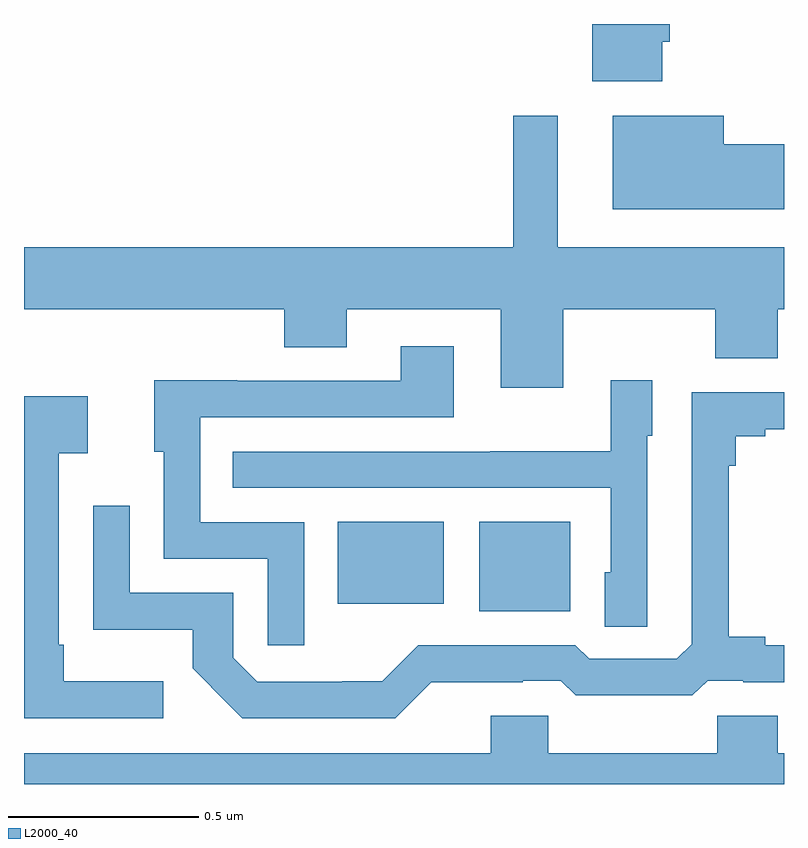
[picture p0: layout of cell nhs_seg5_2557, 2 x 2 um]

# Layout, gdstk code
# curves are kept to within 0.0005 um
import gdstk
lib = gdstk.Library(unit=1e-6, precision=1e-09)
def R(c, l, rs):  # rectangles x0, y0, x1, y1
    for r in rs: c.add(gdstk.rectangle(r[:2], r[2:], *l))
def P(c, l, *ps):  # polygons
    for p in ps: c.add(gdstk.Polygon(p, *l))
L2000_40 = (2000, 40)

nhs_seg5_2557 = lib.new_cell('nhs_seg5_2557')
R(nhs_seg5_2557, L2000_40, [(146.198,901.253,146.437,901.489), (145.826,901.274,146.104,901.489)])
P(nhs_seg5_2557, L2000_40, [(146.679,902.752),(146.699,902.752),(146.699,902.799),(146.496,902.799),(146.496,902.648),(146.679,902.648)],
  [(146.419,902.048),(146.819,902.048),(146.819,901.92),(146.983,901.92),(146.983,902.048),(147,902.048),(147,902.212),(146.404,902.212),(146.404,902.557),(146.287,902.557),(146.287,902.212),(145,902.212),(145,902.048),(145.685,902.048),(145.685,901.949),(145.849,901.949),(145.849,902.048),(146.255,902.048),(146.255,901.842),(146.419,901.842)],
  [(147,902.483),(146.842,902.483),(146.842,902.557),(146.549,902.557),(146.549,902.312),(147,902.312)],
  [(145.737,901.488),(145.464,901.488),(145.464,901.764),(146.131,901.764),(146.131,901.951),(145.991,901.951),(145.991,901.86),(145.561,901.86),(145.561,901.862),(145.343,901.862),(145.343,901.674),(145.368,901.674),(145.368,901.392),(145.641,901.392),(145.641,901.164),(145.737,901.164)],
  [(146.64,901.716),(146.653,901.716),(146.653,901.861),(146.544,901.861),(146.544,901.675),(146.227,901.675),(146.227,901.674),(145.549,901.674),(145.549,901.578),(146.544,901.578),(146.544,901.356),(146.528,901.356),(146.528,901.213),(146.64,901.213)],
  [(146.072,901.067),(146.312,901.067),(146.312,901.071),(146.412,901.071),(146.452,901.032),(146.759,901.032),(146.799,901.071),(146.893,901.071),(146.893,901.067),(147,901.067),(147,901.164),(146.95,901.164),(146.95,901.187),(146.855,901.187),(146.855,901.637),(146.873,901.637),(146.873,901.714),(146.95,901.714),(146.95,901.733),(147,901.733),(147,901.83),(146.757,901.83),(146.757,901.167),(146.718,901.128),(146.487,901.128),(146.451,901.164),(146.037,901.164),(145.943,901.07),(145.838,901.07),(145.838,901.068),(145.614,901.068),(145.551,901.131),(145.551,901.302),(145.278,901.302),(145.278,901.531),(145.182,901.531),(145.182,901.205),(145.444,901.205),(145.444,901.103),(145.574,900.972),(145.977,900.972)],
  [(145.366,901.069),(145.105,901.069),(145.105,901.165),(145.092,901.165),(145.092,901.67),(145.168,901.67),(145.168,901.819),(145,901.819),(145,900.972),(145.366,900.972)],
  [(147,900.88),(146.984,900.88),(146.984,900.978),(146.824,900.978),(146.824,900.88),(146.379,900.88),(146.379,900.978),(146.228,900.978),(146.228,900.88),(145,900.88),(145,900.799),(147,900.799)])

lib.write_gds('nhs_seg5_2557.gds')
